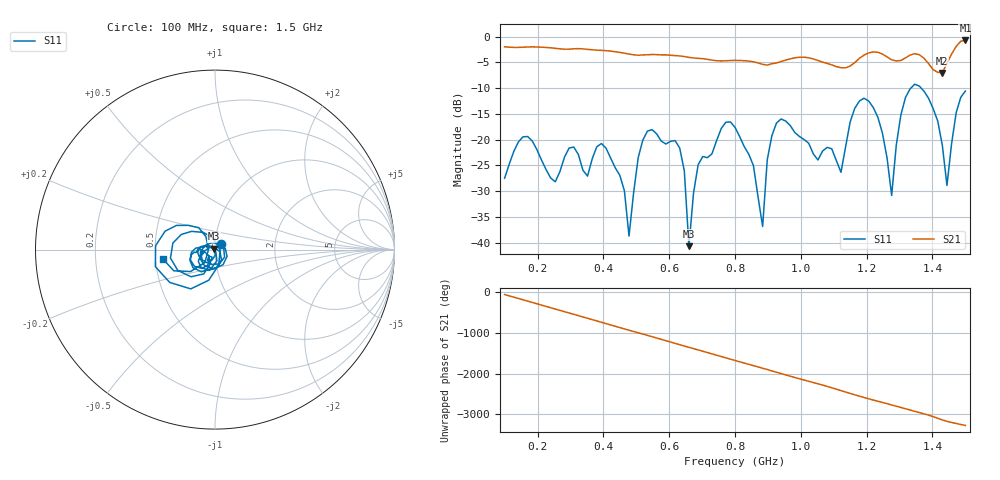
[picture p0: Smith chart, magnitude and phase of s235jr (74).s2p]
! NanoVNA-App
! Date: 2025-09-25 15:04:44
! Start: 100MHz Stop: 1,5GHz Points: 101
! S-Parameter data: F S11 S21 S12 S22
# Hz S RI R 50
!  Frequency  S11_Real  S11_Imag  S21_Real  S21_Imag  S12_Real  S12_Imag  S22_Real  S22_Imag
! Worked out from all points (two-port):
!   101 points, 100 MHz to 1.5 GHz, reference 50 ohm
!   highest |S21| = -0.73 dB at 1.5 GHz (marker M1); lowest = -7.0 dB at 1.43 GHz (marker M2)
!   |S21| within 3 dB of the highest: start of sweep to 630.8 MHz; 1.189 GHz to 1.257 GHz (68.38 MHz wide, 5.59 % of centre) (the widest 2 of 4)
!   lowest |S11| = -40.7 dB at 660 MHz (marker M3), VSWR 1.02, Z = 49.3 + j0.544 ohm
!   |S11| at or under -10 dB: start of sweep to 1.334 GHz; 1.366 GHz to end of sweep
!   S12 and S22 are empty: the file has one direction only
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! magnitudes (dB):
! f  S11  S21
! 100 MHz  -27.5  -2.0
! 156 MHz  -19.4  -2.0
! 338 MHz  -25.9  -2.4
! 408 MHz  -21.6  -2.7
! 478 MHz  -38.7  -3.4
! 520 MHz  -20.1  -3.5
! 576 MHz  -20.3  -3.5
! 632 MHz  -21.6  -3.7
! 660 MHz  -40.7  -4.0
! 688 MHz  -24.9  -4.2
! 800 MHz  -17.6  -4.6
! 884 MHz  -36.8  -5.4
! 926 MHz  -16.8  -5.1
! 1.038 GHz  -22.8  -4.3
! 1.122 GHz  -26.3  -6.0
! 1.192 GHz  -12.0  -3.6
! 1.276 GHz  -30.8  -4.5
! 1.304 GHz  -15.2  -4.6
! 1.346 GHz  -9.2  -3.3
! 1.43 GHz  -21.1  -7.0
! 1.444 GHz  -28.9  -5.1
! 1.5 GHz  -10.6  -0.7
